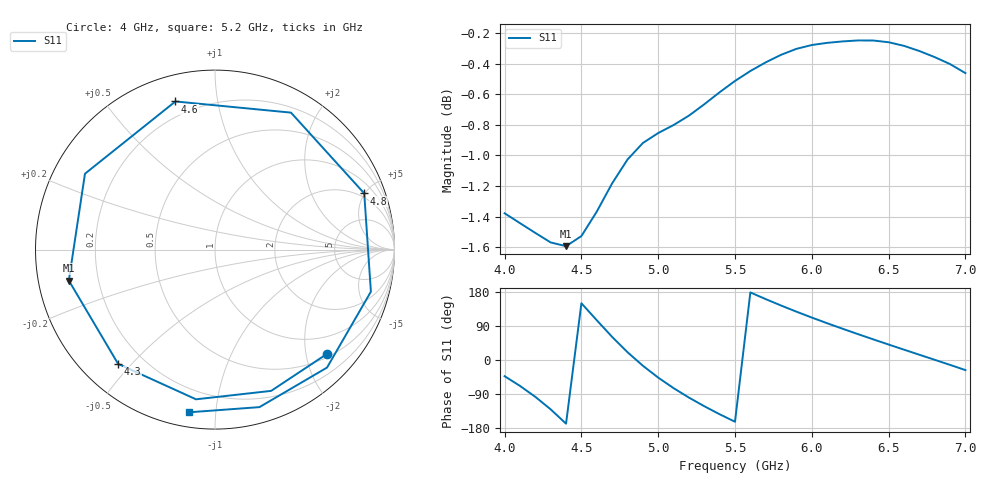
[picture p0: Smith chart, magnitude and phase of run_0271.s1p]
! Touchstone file exported from HFSS 2024.2.0
!  File:  C:/Users/wsak9/Desktop/Sim Fast/Widenad Patch/WP_AI_V1_sweep.aedt
!  Generated:  02:23:50 AM Oct 14, 2026
!  Design:  A1_model
!  Project:  WP_AI_V1_sweep
!  Setup:  Setup1
!  Solution:  Sweep
! Variables:
!  Air_gap = 4.92mm
!  Curve_Amp1 = 1.33
!  Curve_len1 = 1
!  Curve_pos = 13.05mm
!  Extra = 6.97mm
!  H_sub = 0.79mm
!  L_Patch = 22.1mm
!  L_Patch1 = 23.82mm
!  Sx = 3.37mm
!  Sy = 0.89mm
!  WS = 1.32mm
!  W_Patch = 14.11mm
!  W_Patch1 = 16.85mm
!Data is not renormalized
# GHz S MA
! Terminal data exported
! Port[1] = 1
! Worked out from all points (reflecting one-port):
!   31 points, 4 GHz to 7 GHz, reference per port
!   lowest |S11| = -1.6 dB at 4.4 GHz (marker M1), VSWR 10.94
!   phase of S11 starts at -43 deg and turns -704 deg over the sweep
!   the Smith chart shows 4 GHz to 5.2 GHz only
!   S11 on the Smith chart (normalised r, x): 4 GHz: 0.57, -2.44; 4.3 GHz: 0.11, -0.46; 4.6 GHz: 0.12, +0.76; 4.8 GHz: 1.66, +4.95; 5.2 GHz: 0.07, -0.85
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4  0.8533 -42.8
4.1  0.847 -68.3
4.2  0.8408 -97.2
4.3  0.8348 -130.3
4.4  0.8324 -168.0
4.5  0.8388 149.7
4.6  0.8544 105.0
4.7  0.8727 61.0
4.8  0.8885 20.6
4.9  0.8996 -15.1
5  0.9064 -46.5
5.1  0.9119 -74.2
5.2  0.9184 -99.2
5.3  0.9262 -122.0
5.4  0.9347 -143.2
5.5  0.9427 -163.0
5.6  0.9497 178.3
5.7  0.9559 160.6
5.8  0.9614 143.8
5.9  0.9657 127.6
6  0.9685 112.0
6.1  0.9701 97.0
6.2  0.9711 82.5
6.3  0.9718 68.4
6.5  0.9705 40.8
6.7  0.9641 13.9
6.9  0.9547 -12.9
7  0.9482 -26.6
